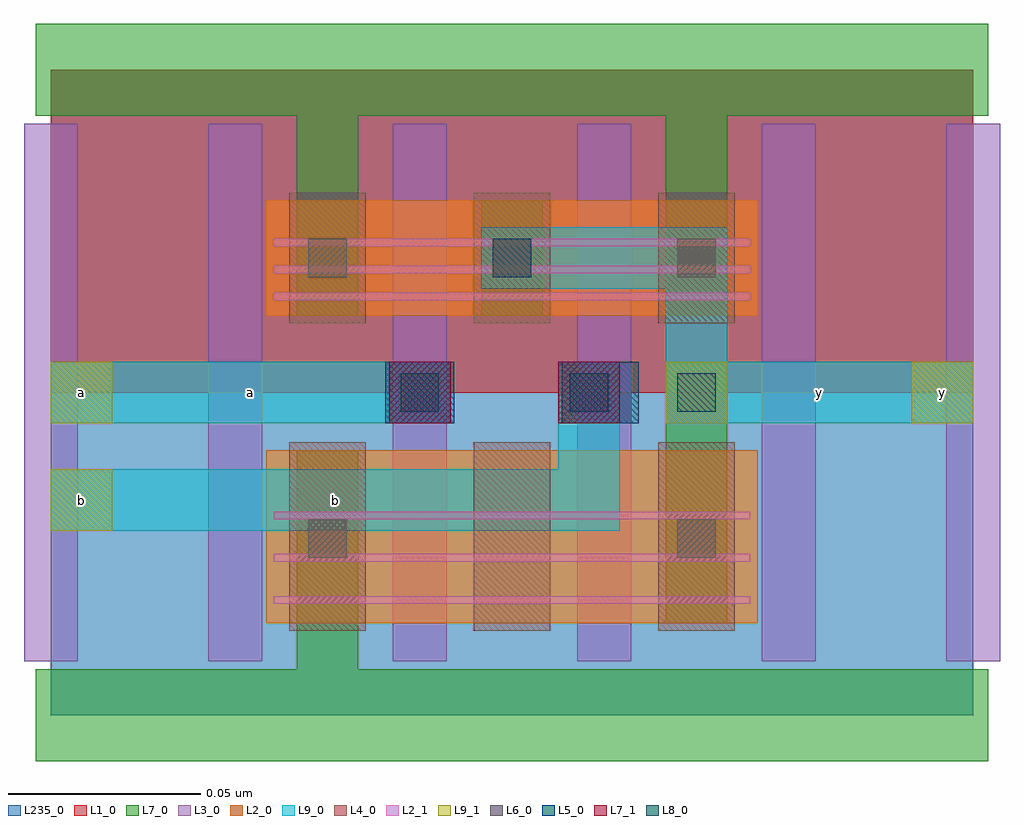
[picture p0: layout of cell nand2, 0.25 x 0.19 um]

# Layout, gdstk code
import gdstk
lib = gdstk.Library(unit=1e-6, precision=1e-09)
def R(c, l, rs):  # rectangles x0, y0, x1, y1
    for r in rs: c.add(gdstk.rectangle(r[:2], r[2:], *l))
def A(c, l, x, y, w, h, nx, ny, dx, dy):  # array of equal rectangles
    R(c, l, [(x+i*dx, y+j*dy, x+i*dx+w, y+j*dy+h) for i in range(nx) for j in range(ny)])
L1_0 = (1, 0)
L2_0 = (2, 0)
L2_1 = (2, 1)
L3_0 = (3, 0)
L4_0 = (4, 0)
L5_0 = (5, 0)
L6_0 = (6, 0)
L7_0 = (7, 0)
L7_1 = (7, 1)
L8_0 = (8, 0)
L9_0 = (9, 0)
L9_1 = (9, 1)
L235_0 = (235, 0)

nand2_gaa_x1 = lib.new_cell('NAND2_GAA_X1')
R(nand2_gaa_x1, L1_0, [(0,0.084,0.144,0.168)])
R(nand2_gaa_x1, L2_0, [(0.008,0.024,0.136,0.069), (0.008,0.104,0.136,0.134)])
A(nand2_gaa_x1, L2_1, 0.01, 0.029, 0.124, 0.002, 1, 3, 0, 0.011)
A(nand2_gaa_x1, L2_1, 0.01, 0.108, 0.124, 0.002, 1, 3, 0, 0.007)
A(nand2_gaa_x1, L3_0, -0.007, 0.014, 0.014, 0.14, 4, 1, 0.048, 0)
A(nand2_gaa_x1, L4_0, 0.014, 0.022, 0.02, 0.049, 3, 1, 0.048, 0)
A(nand2_gaa_x1, L4_0, 0.014, 0.102, 0.02, 0.034, 3, 1, 0.048, 0)
R(nand2_gaa_x1, L5_0, [(0.039,0.076,0.057,0.092), (0.085,0.076,0.105,0.092)])
A(nand2_gaa_x1, L6_0, 0.019, 0.114, 0.01, 0.01, 3, 1, 0.048, 0)
R(nand2_gaa_x1, L6_0, [(0.019,0.041,0.029,0.051), (0.115,0.041,0.125,0.051), (0.043,0.079,0.053,0.089), (0.087,0.079,0.097,0.089)])
R(nand2_gaa_x1, L7_0, [(-0.004,-0.012,0.148,0.012), (0.016,0,0.032,0.069), (0.112,0.024,0.128,0.092), (0.04,0.076,0.056,0.092), (0.084,0.076,0.1,0.092), (0.016,0.104,0.032,0.168), (0.064,0.104,0.08,0.134), (0.112,0.104,0.128,0.168), (-0.004,0.156,0.148,0.18)])
R(nand2_gaa_x1, L7_1, [(0.04,0.076,0.056,0.092), (0.084,0.076,0.1,0.092)])
R(nand2_gaa_x1, L8_0, [(0.115,0.079,0.125,0.089), (0.067,0.114,0.077,0.124)])
R(nand2_gaa_x1, L9_0, [(0.112,0.076,0.128,0.127), (0.064,0.111,0.128,0.127)])
R(nand2_gaa_x1, L9_1, [(0.112,0.076,0.128,0.092)])
R(nand2_gaa_x1, L235_0, [(0,0,0.144,0.168)])
nand2_gaa_x1.add(gdstk.Label('A', (0.048,0.084), layer=7, texttype=2))
nand2_gaa_x1.add(gdstk.Label('B', (0.092,0.084), layer=7, texttype=2))
nand2_gaa_x1.add(gdstk.Label('Y', (0.12,0.084), layer=9, texttype=2))
nand2_gaa_x1.add(gdstk.Label('VDD', (0.072,0.168), layer=7, texttype=2))
nand2_gaa_x1.add(gdstk.Label('VSS', (0.072,0), layer=7, texttype=2))

fill_gaa_x1 = lib.new_cell('FILL_GAA_X1')
R(fill_gaa_x1, L1_0, [(0,0.084,0.048,0.168)])
R(fill_gaa_x1, L3_0, [(-0.007,0.014,0.007,0.154), (0.041,0.014,0.055,0.154)])
R(fill_gaa_x1, L7_0, [(-0.004,-0.012,0.052,0.012), (-0.004,0.156,0.052,0.18)])
R(fill_gaa_x1, L235_0, [(0,0,0.048,0.168)])

nand2 = lib.new_cell('nand2')
R(nand2, L8_0, [(0.091,0.079,0.101,0.089), (0.135,0.079,0.145,0.089)])
R(nand2, L9_0, [(0,0.048,0.148,0.064), (0,0.048,0.016,0.064), (0.132,0.048,0.148,0.092), (0,0.076,0.104,0.092), (0,0.076,0.016,0.092), (0.132,0.076,0.148,0.092), (0.16,0.076,0.24,0.092), (0.224,0.076,0.24,0.092)])
R(nand2, L9_1, [(0,0.048,0.016,0.064), (0,0.076,0.016,0.092), (0.224,0.076,0.24,0.092)])
R(nand2, L235_0, [(0,0,0.24,0.168)])
nand2.add(gdstk.Reference(nand2_gaa_x1, (0.048,0)))
nand2.add(gdstk.Reference(fill_gaa_x1, (0,0)))
nand2.add(gdstk.Reference(fill_gaa_x1, (0.192,0)))
nand2.add(gdstk.Label('a', (0.052,0.084), layer=9, texttype=3))
nand2.add(gdstk.Label('b', (0.074,0.056), layer=9, texttype=3))
nand2.add(gdstk.Label('y', (0.2,0.084), layer=9, texttype=3))
nand2.add(gdstk.Label('a', (0.008,0.084), layer=9, texttype=2))
nand2.add(gdstk.Label('b', (0.008,0.056), layer=9, texttype=2))
nand2.add(gdstk.Label('y', (0.232,0.084), layer=9, texttype=2))

lib.write_gds('nand2.gds')
